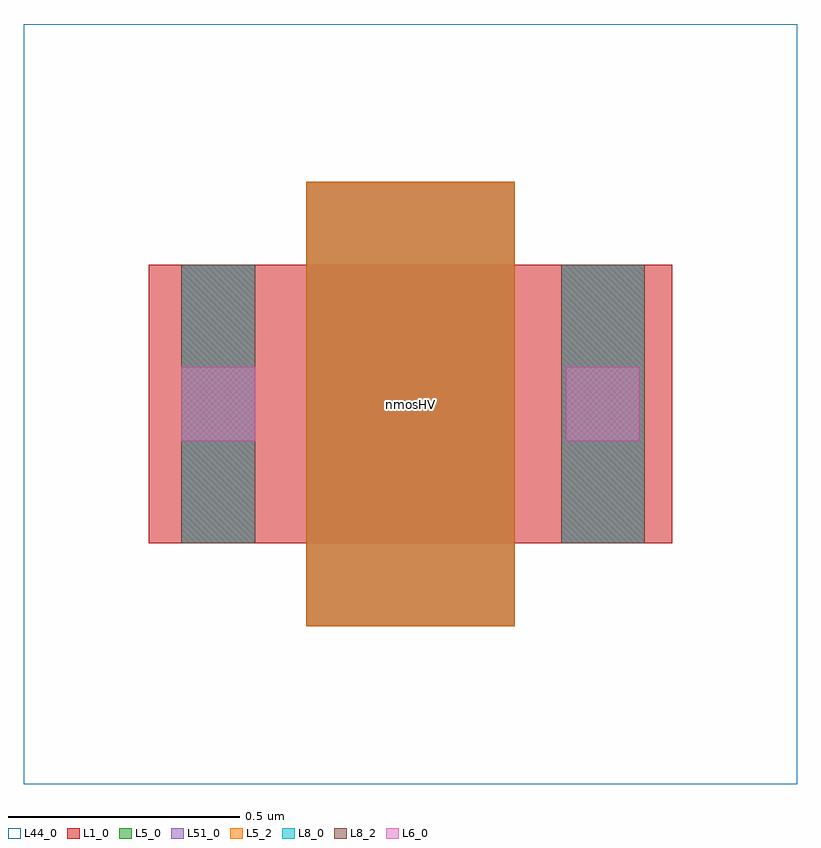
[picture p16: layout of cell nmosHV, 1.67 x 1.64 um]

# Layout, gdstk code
import gdstk
lib = gdstk.Library(unit=1e-6, precision=1e-09)
def R(c, l, rs):  # rectangles x0, y0, x1, y1
    for r in rs: c.add(gdstk.rectangle(r[:2], r[2:], *l))
L1_0 = (1, 0)
L5_0 = (5, 0)
L5_2 = (5, 2)
L6_0 = (6, 0)
L8_0 = (8, 0)
L8_2 = (8, 2)
L44_0 = (44, 0)
L51_0 = (51, 0)

nmoshv = lib.new_cell('nmosHV')
R(nmoshv, L1_0, [(0,0,1.13,0.6), (0,0,1.13,0.6), (0,0,0.3,0.3), (0,0,0.3,0.3), (0.83,0,1.13,0.3), (0.83,0,1.13,0.3)])
R(nmoshv, L5_0, [(0.34,-0.18,0.79,0.78), (0.34,-0.18,0.79,0.78)])
R(nmoshv, L5_2, [(0.34,-0.18,0.79,0.78), (0.34,-0.18,0.79,0.78)])
R(nmoshv, L6_0, [(0.07,0.22,0.23,0.38), (0.07,0.22,0.23,0.38), (0.9,0.22,1.06,0.38), (0.9,0.22,1.06,0.38)])
R(nmoshv, L8_0, [(0.07,0,0.23,0.6), (0.07,0,0.23,0.6), (0.89,0,1.07,0.6), (0.89,0,1.07,0.6)])
R(nmoshv, L8_2, [(0.07,0,0.23,0.6), (0.07,0,0.23,0.6), (0.89,0,1.07,0.6), (0.89,0,1.07,0.6)])
R(nmoshv, L44_0, [(-0.27,-0.52,1.4,1.12), (-0.27,-0.52,1.4,1.12)])
R(nmoshv, L51_0, [(0.34,-0.18,0.79,0.78), (0.34,-0.18,0.79,0.78)])
nmoshv.add(gdstk.Label('nmosHV', (0.565,0.3), layer=63, texttype=0))
nmoshv.add(gdstk.Label('nmosHV', (0.565,0.3), layer=63, texttype=0))
nmoshv.add(gdstk.Label('nmosHV', (0.565,0.3), layer=51, texttype=0))
nmoshv.add(gdstk.Label('nmosHV', (0.565,0.3), layer=51, texttype=0))

lib.write_gds('nmosHV.gds')
